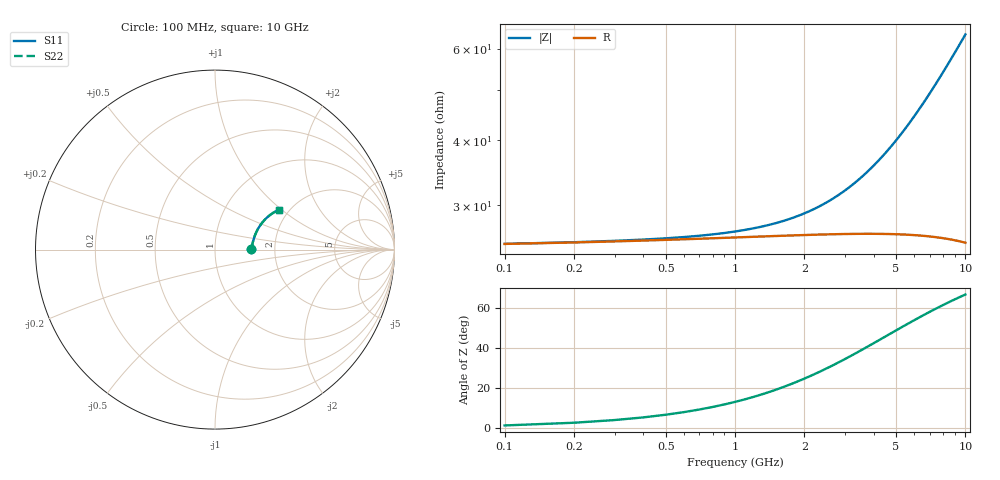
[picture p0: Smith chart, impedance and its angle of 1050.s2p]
# Hz S RI R 50.00
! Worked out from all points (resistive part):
!   100 points, 100 MHz to 10 GHz, reference 50 ohm
!   read as one part in series: R = 25.3 ohm at 100 MHz
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1e8  0.2017 0.00302  0.7983 -0.00463  0.7983 -0.00463  0.2017 0.00302
2e8  0.2028 0.00602  0.7971 -0.00924  0.7971 -0.00924  0.2028 0.00602
4e8  0.2044 0.012  0.7955 -0.0184  0.7955 -0.0184  0.2044 0.012
8e8  0.207 0.0238  0.7929 -0.0367  0.7929 -0.0367  0.207 0.0238
1.1e9  0.2089 0.0326  0.7909 -0.0503  0.7909 -0.0503  0.2089 0.0326
1.4e9  0.2109 0.0413  0.7888 -0.0638  0.7888 -0.0638  0.2109 0.0413
1.8e9  0.2139 0.0527  0.7856 -0.0817  0.7856 -0.0817  0.2139 0.0527
2.1e9  0.2164 0.0612  0.7829 -0.095  0.7829 -0.095  0.2164 0.0612
2.5e9  0.2201 0.0724  0.779 -0.1126  0.779 -0.1126  0.2201 0.0724
2.9e9  0.2243 0.0833  0.7745 -0.13  0.7745 -0.13  0.2243 0.0833
3.4e9  0.23 0.0966  0.7683 -0.1514  0.7683 -0.1514  0.23 0.0966
3.8e9  0.2351 0.107  0.7628 -0.1683  0.7628 -0.1683  0.2351 0.107
4.2e9  0.2406 0.1171  0.7568 -0.1848  0.7568 -0.1848  0.2406 0.1171
4.6e9  0.2466 0.1269  0.7504 -0.2011  0.7504 -0.2011  0.2466 0.1269
5.1e9  0.2545 0.1387  0.7417 -0.221  0.7417 -0.221  0.2545 0.1387
5.9e9  0.2684 0.1564  0.7266 -0.2517  0.7266 -0.2517  0.2684 0.1564
6.7e9  0.2836 0.1726  0.7099 -0.2809  0.7099 -0.2809  0.2836 0.1726
7.2e9  0.2937 0.1819  0.6988 -0.2984  0.6988 -0.2984  0.2937 0.1819
7.6e9  0.302 0.1889  0.6896 -0.3119  0.6896 -0.3119  0.302 0.1889
8.4e9  0.3194 0.2017  0.6703 -0.3378  0.6703 -0.3378  0.3194 0.2017
9.2e9  0.3375 0.2127  0.6502 -0.3619  0.6502 -0.3619  0.3375 0.2127
1e10  0.3561 0.222  0.6292 -0.3845  0.6292 -0.3845  0.3561 0.222
